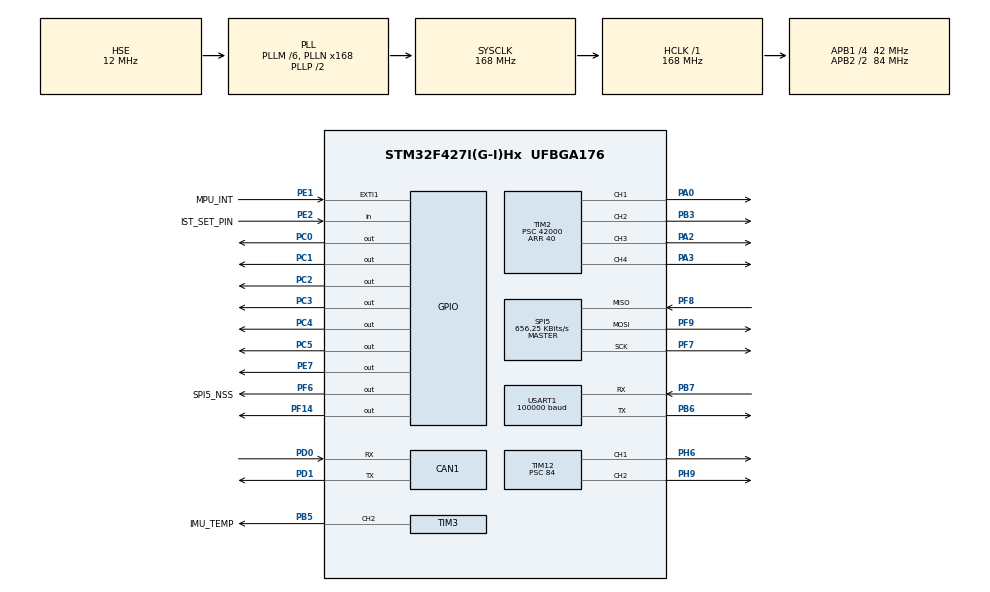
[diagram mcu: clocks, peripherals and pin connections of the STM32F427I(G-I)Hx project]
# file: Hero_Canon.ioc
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CAN1.CalculateTimeBit=1142
CAN1.CalculateTimeQuantum=380.95238095238096
CAN1.TimeSeg1=CAN_BS1_9TQ
CAN1.TimeSeg2=CAN_BS2_3TQ
CAN1.TransmitFifoPriority=ENABLE
Dma.Request0=USART1_RX
Dma.USART1_RX.0.Direction=DMA_PERIPH_TO_MEMORY
Dma.USART1_RX.0.FIFOMode=DMA_FIFOMODE_DISABLE
Dma.USART1_RX.0.Instance=DMA2_Stream2
Dma.USART1_RX.0.MemDataAlignment=DMA_MDATAALIGN_BYTE
Dma.USART1_RX.0.MemInc=DMA_MINC_ENABLE
Dma.USART1_RX.0.Mode=DMA_CIRCULAR
Dma.USART1_RX.0.PeriphDataAlignment=DMA_PDATAALIGN_BYTE
Dma.USART1_RX.0.PeriphInc=DMA_PINC_DISABLE
Dma.USART1_RX.0.Priority=DMA_PRIORITY_LOW
Mcu.Family=STM32F4
Mcu.Name=STM32F427I(G-I)Hx
Mcu.Package=UFBGA176
NVIC.CAN1_RX0_IRQn=true\:1\:0\:true\:false\:true\:true
NVIC.DMA2_Stream2_IRQn=true\:0\:0\:false\:false\:true\:false
NVIC.PriorityGroup=NVIC_PRIORITYGROUP_2
NVIC.RCC_IRQn=true\:0\:0\:false\:false\:true\:true
NVIC.TIM2_IRQn=true\:0\:0\:false\:false\:true\:true
NVIC.TIM6_DAC_IRQn=true\:0\:0\:false\:false\:true\:true
NVIC.USART1_IRQn=true\:1\:0\:true\:false\:true\:true
PA0/WKUP.Signal=S_TIM2_CH1_ETR
PA13.Mode=Serial_Wire
PA13.Signal=SYS_JTMS-SWDIO
PA14.Mode=Serial_Wire
PA14.Signal=SYS_JTCK-SWCLK
PA2.Signal=S_TIM2_CH3
PA3.Signal=S_TIM2_CH4
PB3.Signal=S_TIM2_CH2
PB5.GPIO_Label=IMU_TEMP
PB5.Signal=S_TIM3_CH2
PB6.Mode=Asynchronous
PB6.Signal=USART1_TX
PB7.Mode=Asynchronous
PB7.Signal=USART1_RX
PC0.Signal=GPIO_Output
PC1.Signal=GPIO_Output
PC2.Signal=GPIO_Output
PC3.Signal=GPIO_Output
PC4.Signal=GPIO_Output
PC5.Signal=GPIO_Output
PD0.Mode=Master
PD0.Signal=CAN1_RX
PD1.Mode=Master
PD1.Signal=CAN1_TX
PE1.GPIO_Label=MPU_INT
PE1.Signal=GPXTI1
PE2.GPIO_Label=IST_SET_PIN
PE2.Signal=GPIO_Input
PE7.Signal=GPIO_Output
PF14.Signal=GPIO_Output
PF6.GPIO_Label=SPI5_NSS
PF6.Signal=GPIO_Output
PF7.Mode=Full_Duplex_Master
PF7.Signal=SPI5_SCK
PF8.Mode=Full_Duplex_Master
PF8.Signal=SPI5_MISO
PF9.Mode=Full_Duplex_Master
PF9.Signal=SPI5_MOSI
PH0/OSC_IN.Mode=HSE-External-Oscillator
PH0/OSC_IN.Signal=RCC_OSC_IN
PH1/OSC_OUT.Mode=HSE-External-Oscillator
PH1/OSC_OUT.Signal=RCC_OSC_OUT
PH6.Signal=S_TIM12_CH1
PH9.Signal=S_TIM12_CH2
ProjectManager.HeapSize=0x1000
ProjectManager.StackSize=0x400
ProjectManager.TargetToolchain=MDK-ARM V5
RCC.48MHZClocksFreq_Value=84000000
RCC.AHBFreq_Value=168000000
RCC.APB1CLKDivider=RCC_HCLK_DIV4
RCC.APB1Freq_Value=42000000
RCC.APB1TimFreq_Value=84000000
RCC.APB2CLKDivider=RCC_HCLK_DIV2
RCC.APB2Freq_Value=84000000
RCC.APB2TimFreq_Value=168000000
RCC.CortexFreq_Value=168000000
RCC.HCLKFreq_Value=168000000
RCC.HSE_VALUE=12000000
RCC.HSI_VALUE=16000000
RCC.LSE_VALUE=32768
RCC.PLLM=6
RCC.PLLN=168
RCC.PLLSourceVirtual=RCC_PLLSOURCE_HSE
RCC.SYSCLKFreq_VALUE=168000000
RCC.SYSCLKSource=RCC_SYSCLKSOURCE_PLLCLK
RCC.VCOOutputFreq_Value=336000000
SH.S_TIM12_CH1.0=TIM12_CH1,PWM Generation1 CH1
SH.S_TIM12_CH2.0=TIM12_CH2,PWM Generation2 CH2
SH.S_TIM2_CH1_ETR.0=TIM2_CH1,PWM Generation1 CH1
SH.S_TIM2_CH2.0=TIM2_CH2,PWM Generation2 CH2
SH.S_TIM2_CH3.0=TIM2_CH3,PWM Generation3 CH3
SH.S_TIM2_CH4.0=TIM2_CH4,PWM Generation4 CH4
SH.S_TIM3_CH2.0=TIM3_CH2,PWM Generation2 CH2
SPI5.BaudRatePrescaler=SPI_BAUDRATEPRESCALER_128
SPI5.CalculateBaudRate=656.25 KBits/s
SPI5.Direction=SPI_DIRECTION_2LINES
SPI5.Mode=SPI_MODE_MASTER
SPI5.VirtualType=VM_MASTER
TIM12.Channel-PWM\ Generation1\ CH1=TIM_CHANNEL_1
TIM12.Channel-PWM\ Generation2\ CH2=TIM_CHANNEL_2
TIM12.Period=20000
TIM12.Prescaler=84
TIM2.Channel-PWM\ Generation1\ CH1=TIM_CHANNEL_1
TIM2.Channel-PWM\ Generation2\ CH2=TIM_CHANNEL_2
TIM2.Channel-PWM\ Generation3\ CH3=TIM_CHANNEL_3
TIM2.Channel-PWM\ Generation4\ CH4=TIM_CHANNEL_4
TIM2.Period=40
TIM2.Prescaler=42000
TIM2.Pulse-PWM\ Generation1\ CH1=2
TIM3.Channel-PWM\ Generation2\ CH2=TIM_CHANNEL_2
TIM3.Prescaler=83
TIM6.Period=2000
TIM6.Prescaler=42
USART1.BaudRate=100000
USART1.Mode=MODE_RX
USART1.Parity=PARITY_EVEN
USART1.VirtualMode=VM_ASYNC
VP_TIM2_VS_ClockSourceINT.Mode=Internal
VP_TIM6_VS_ClockSourceINT.Mode=Enable_Timer
board=Hero_Canon

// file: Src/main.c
/**
  ******************************************************************************
  * @file           : main.c
  * @brief          : Main program body
  ******************************************************************************
  ** This notice applies to any and all portions of this file
  * that are not between comment pairs USER CODE BEGIN and
  * USER CODE END. Other portions of this file, whether
  * inserted by the user or by software development tools
  * are owned by their respective copyright owners.
  *
  * COPYRIGHT(c) 2018 STMicroelectronics
  *
  * Redistribution and use in source and binary forms, with or without modification,
  * are permitted provided that the following conditions are met:
  *   1. Redistributions of source code must retain the above copyright notice,
  *      this list of conditions and the following disclaimer.
  *   2. Redistributions in binary form must reproduce the above copyright notice,
  *      this list of conditions and the following disclaimer in the documentation
  *      and/or other materials provided with the distribution.
  *   3. Neither the name of STMicroelectronics nor the names of its contributors
  *      may be used to endorse or promote products derived from this software
  *      without specific prior written permission.
  *
  * THIS SOFTWARE IS PROVIDED BY THE COPYRIGHT HOLDERS AND CONTRIBUTORS "AS IS"
  * AND ANY EXPRESS OR IMPLIED WARRANTIES, INCLUDING, BUT NOT LIMITED TO, THE
  * IMPLIED WARRANTIES OF MERCHANTABILITY AND FITNESS FOR A PARTICULAR PURPOSE ARE
  * DISCLAIMED. IN NO EVENT SHALL THE COPYRIGHT HOLDER OR CONTRIBUTORS BE LIABLE
  * FOR ANY DIRECT, INDIRECT, INCIDENTAL, SPECIAL, EXEMPLARY, OR CONSEQUENTIAL
  * DAMAGES (INCLUDING, BUT NOT LIMITED TO, PROCUREMENT OF SUBSTITUTE GOODS OR
  * SERVICES; LOSS OF USE, DATA, OR PROFITS; OR BUSINESS INTERRUPTION) HOWEVER
  * CAUSED AND ON ANY THEORY OF LIABILITY, WHETHER IN CONTRACT, STRICT LIABILITY,
  * OR TORT (INCLUDING NEGLIGENCE OR OTHERWISE) ARISING IN ANY WAY OUT OF THE USE
  * OF THIS SOFTWARE, EVEN IF ADVISED OF THE POSSIBILITY OF SUCH DAMAGE.
  *
  ******************************************************************************
  */
#include "main.h"
#include "stm32f4xx_hal.h"
#include "can.h"
#include "dma.h"
#include "spi.h"
#include "tim.h"
#include "usart.h"
#include "gpio.h"

/* USER CODE BEGIN Includes */
#include "testTask.h"
#include "controlTask.h"
#include "imu_task.h"
#include "gun.h"
#include "collect.h"
extern uint8_t RemoteBuffer[8];
extern DMA_HandleTypeDef hdma_usart1_rx;
extern uint8_t collect_mode_code;
/* USER CODE END Includes */

/* USER CODE BEGIN PV */
/* Private variables ---------------------------------------------------------*/
uint8_t canRxMsg[8];
/* USER CODE END PV */

void SystemClock_Config(void);

/* USER CODE BEGIN PFP */
/* Private function prototypes -----------------------------------------------*/

/* USER CODE END PFP */

int main(void)
{

  /* MCU Configuration----------------------------------------------------------*/

  /* Reset of all peripherals, Initializes the Flash interface and the Systick. */
  HAL_Init();

  /* Configure the system clock */
  SystemClock_Config();

  /* Initialize all configured peripherals */
  MX_GPIO_Init();
  MX_DMA_Init();
  MX_TIM6_Init();
  MX_TIM2_Init();
  MX_USART1_UART_Init();
  MX_CAN1_Init();
  MX_SPI5_Init();
  MX_TIM3_Init();
  MX_TIM12_Init();
  /* USER CODE BEGIN 2 */
	RED_LED_OFF();
	HAL_TIM_PWM_Init(&htim2);
	HAL_TIM_PWM_Init(&htim12);
	gun_init();
	GREEN_LED_OFF();
	dbus_uart_init();
	CAN_Initialize();
	imu_param_init();
	Test_Task_Init();
	HAL_TIM_Base_Start_IT(&htim6);
	HAL_TIM_Base_Start_IT(&htim2);

	//Collect_Control_Init();
  /* USER CODE END 2 */

  /* Infinite loop */
  /* USER CODE BEGIN WHILE */
  while (1)
  {
		HAL_Delay(1);
		imu_task();

  /* USER CODE END WHILE */

  }

}

void SystemClock_Config(void)
{

  RCC_OscInitTypeDef RCC_OscInitStruct;
  RCC_ClkInitTypeDef RCC_ClkInitStruct;

    /**Configure the main internal regulator output voltage
    */
  __HAL_RCC_PWR_CLK_ENABLE();

  __HAL_PWR_VOLTAGESCALING_CONFIG(PWR_REGULATOR_VOLTAGE_SCALE1);

    /**Initializes the CPU, AHB and APB busses clocks
    */
  RCC_OscInitStruct.OscillatorType = RCC_OSCILLATORTYPE_HSE;
  RCC_OscInitStruct.HSEState = RCC_HSE_ON;
  RCC_OscInitStruct.PLL.PLLState = RCC_PLL_ON;
  RCC_OscInitStruct.PLL.PLLSource = RCC_PLLSOURCE_HSE;
  RCC_OscInitStruct.PLL.PLLM = 6;
  RCC_OscInitStruct.PLL.PLLN = 168;
  RCC_OscInitStruct.PLL.PLLP = RCC_PLLP_DIV2;
  RCC_OscInitStruct.PLL.PLLQ = 4;
  if (HAL_RCC_OscConfig(&RCC_OscInitStruct) != HAL_OK)
  {
    _Error_Handler(__FILE__, __LINE__);
  }

    /**Initializes the CPU, AHB and APB busses clocks
    */
  RCC_ClkInitStruct.ClockType = RCC_CLOCKTYPE_HCLK|RCC_CLOCKTYPE_SYSCLK
                              |RCC_CLOCKTYPE_PCLK1|RCC_CLOCKTYPE_PCLK2;
  RCC_ClkInitStruct.SYSCLKSource = RCC_SYSCLKSOURCE_PLLCLK;
  RCC_ClkInitStruct.AHBCLKDivider = RCC_SYSCLK_DIV1;
  RCC_ClkInitStruct.APB1CLKDivider = RCC_HCLK_DIV4;
  RCC_ClkInitStruct.APB2CLKDivider = RCC_HCLK_DIV2;

  if (HAL_RCC_ClockConfig(&RCC_ClkInitStruct, FLASH_LATENCY_5) != HAL_OK)
  {
    _Error_Handler(__FILE__, __LINE__);
  }

    /**Configure the Systick interrupt time
    */
  HAL_SYSTICK_Config(HAL_RCC_GetHCLKFreq()/1000);

    /**Configure the Systick
    */
  HAL_SYSTICK_CLKSourceConfig(SYSTICK_CLKSOURCE_HCLK);

  /* SysTick_IRQn interrupt configuration */
  HAL_NVIC_SetPriority(SysTick_IRQn, 0, 0);
}

void _Error_Handler(char *file, int line)
{
  while(1)
  {
  }
}

/************************ (C) COPYRIGHT STMicroelectronics *****END OF FILE****/
